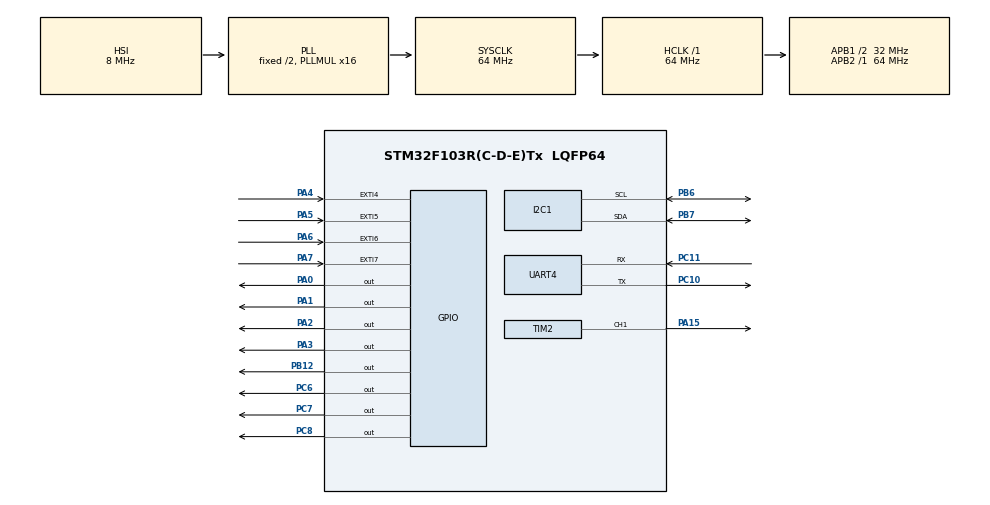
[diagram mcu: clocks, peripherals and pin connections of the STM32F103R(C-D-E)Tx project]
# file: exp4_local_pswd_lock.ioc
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Mcu.Family=STM32F1
Mcu.Name=STM32F103R(C-D-E)Tx
Mcu.Package=LQFP64
NVIC.EXTI4_IRQn=true\:0\:0\:false\:false\:true\:true
NVIC.EXTI9_5_IRQn=true\:0\:0\:false\:false\:true\:true
NVIC.PriorityGroup=NVIC_PRIORITYGROUP_4
NVIC.UART4_IRQn=true\:0\:0\:false\:false\:true\:true
PA0-WKUP.Signal=GPIO_Output
PA1.Signal=GPIO_Output
PA13.Mode=Serial_Wire
PA13.Signal=SYS_JTMS-SWDIO
PA14.Mode=Serial_Wire
PA14.Signal=SYS_JTCK-SWCLK
PA15.Signal=S_TIM2_CH1_ETR
PA2.Signal=GPIO_Output
PA3.Signal=GPIO_Output
PA4.Signal=GPXTI4
PA5.Signal=GPXTI5
PA6.Signal=GPXTI6
PA7.Signal=GPXTI7
PB12.Signal=GPIO_Output
PB6.Mode=I2C
PB6.Signal=I2C1_SCL
PB7.Mode=I2C
PB7.Signal=I2C1_SDA
PC10.Mode=Asynchronous
PC10.Signal=UART4_TX
PC11.Mode=Asynchronous
PC11.Signal=UART4_RX
PC6.Signal=GPIO_Output
PC7.Signal=GPIO_Output
PC8.Signal=GPIO_Output
ProjectManager.HeapSize=0x200
ProjectManager.StackSize=0x400
ProjectManager.TargetToolchain=MDK-ARM V5
RCC.AHBFreq_Value=64000000
RCC.APB1CLKDivider=RCC_HCLK_DIV2
RCC.APB1Freq_Value=32000000
RCC.APB1TimFreq_Value=64000000
RCC.APB2Freq_Value=64000000
RCC.APB2TimFreq_Value=64000000
RCC.HCLKFreq_Value=64000000
RCC.PLLMUL=RCC_PLL_MUL16
RCC.SYSCLKFreq_VALUE=64000000
RCC.SYSCLKSource=RCC_SYSCLKSOURCE_PLLCLK
RCC.USBFreq_Value=64000000
SH.S_TIM2_CH1_ETR.0=TIM2_CH1,PWM Generation1 CH1
TIM2.Channel-PWM\ Generation1\ CH1=TIM_CHANNEL_1
TIM2.Prescaler=6400
UART4.VirtualMode=Asynchronous
VP_TIM2_VS_ClockSourceINT.Mode=Internal
board=custom

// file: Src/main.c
/**
  ******************************************************************************
  * @file           : main.c
  * @brief          : Main program body
  ******************************************************************************
  ** This notice applies to any and all portions of this file
  * that are not between comment pairs USER CODE BEGIN and
  * USER CODE END. Other portions of this file, whether
  * inserted by the user or by software development tools
  * are owned by their respective copyright owners.
  *
  * COPYRIGHT(c) 2019 STMicroelectronics
  *
  * Redistribution and use in source and binary forms, with or without modification,
  * are permitted provided that the following conditions are met:
  *   1. Redistributions of source code must retain the above copyright notice,
  *      this list of conditions and the following disclaimer.
  *   2. Redistributions in binary form must reproduce the above copyright notice,
  *      this list of conditions and the following disclaimer in the documentation
  *      and/or other materials provided with the distribution.
  *   3. Neither the name of STMicroelectronics nor the names of its contributors
  *      may be used to endorse or promote products derived from this software
  *      without specific prior written permission.
  *
  * THIS SOFTWARE IS PROVIDED BY THE COPYRIGHT HOLDERS AND CONTRIBUTORS "AS IS"
  * AND ANY EXPRESS OR IMPLIED WARRANTIES, INCLUDING, BUT NOT LIMITED TO, THE
  * IMPLIED WARRANTIES OF MERCHANTABILITY AND FITNESS FOR A PARTICULAR PURPOSE ARE
  * DISCLAIMED. IN NO EVENT SHALL THE COPYRIGHT HOLDER OR CONTRIBUTORS BE LIABLE
  * FOR ANY DIRECT, INDIRECT, INCIDENTAL, SPECIAL, EXEMPLARY, OR CONSEQUENTIAL
  * DAMAGES (INCLUDING, BUT NOT LIMITED TO, PROCUREMENT OF SUBSTITUTE GOODS OR
  * SERVICES; LOSS OF USE, DATA, OR PROFITS; OR BUSINESS INTERRUPTION) HOWEVER
  * CAUSED AND ON ANY THEORY OF LIABILITY, WHETHER IN CONTRACT, STRICT LIABILITY,
  * OR TORT (INCLUDING NEGLIGENCE OR OTHERWISE) ARISING IN ANY WAY OUT OF THE USE
  * OF THIS SOFTWARE, EVEN IF ADVISED OF THE POSSIBILITY OF SUCH DAMAGE.
  *
  ******************************************************************************
  */
#include "main.h"
#include "stm32f1xx_hal.h"

/* USER CODE BEGIN Includes */
#include "keyboard.h"
#include "OLED.h"
#include "string.h"
/* USER CODE END Includes */

I2C_HandleTypeDef hi2c1;

TIM_HandleTypeDef htim2;

UART_HandleTypeDef huart4;

/* USER CODE BEGIN PV */
/* Private variables ---------------------------------------------------------*/

/* USER CODE END PV */

void SystemClock_Config(void);
static void MX_GPIO_Init(void);
static void MX_I2C1_Init(void);
static void MX_TIM2_Init(void);
static void MX_UART4_Init(void);

void HAL_TIM_MspPostInit(TIM_HandleTypeDef *htim);

/* USER CODE BEGIN PFP */
/* Private function prototypes -----------------------------------------------*/

void key_interrupt_fun(uint16_t);
int main_menu_flash(void);
int password_flash(void);
int tips_flash(void);
int locked_flash(void);
int time(void);
int str2int();
void beep(int);
void unlock(void);
void locked(void);
void resetpass(void);
void timechanging(void);

#define MAIN_MENU 0
#define PASS_MENU 1
#define TIPS_MENU 2
#define LOCKED_MENU 3

/* USER CODE END PFP */

/* USER CODE BEGIN 0 */
int menu_flag=MAIN_MENU;
int year=19,month=7,day=14;
int hour=10,min=26,sec=0;
int yeartemp=0,monthtemp=0,daytemp=0;
int hourtemp=0,mintemp=0,sectemp=0;
char tipsbuf[16];
char starbuf[16];
char pswdbuf[16];
char pswdprintbuf[16];
char configbuf[16];
char timeconfig[16];
char timetempbuf[6];
char rxbuf[100];
char rxprintbuf[100];
char orginpswd[16]="123456";
char orginpswdbuf[16];
char uart_rxbuf[1];
char judgebuf[16];
char *ptchar;
int pos=0;

/*void HAL_TIM_PeriodElapsedCallback(TIM_HandleTypeDef *htim)
{
	sec++;
	if(sec==60){
		sec=0;min++;
		if(min==60){
			//......
		}
	}
}**/

void HAL_UART_RxCpltCallback (UART_HandleTypeDef *huart)
{
	rxbuf[pos]=uart_rxbuf[0];
	pos++;
	if(uart_rxbuf[0]==';'){
		HAL_UART_Transmit(&huart4,rxbuf,strlen(rxbuf),100);
		pos=0;
		strcpy(rxprintbuf,rxbuf);
		if(strncmp("config:unlock",rxbuf,13)==0){
			unlock();
		}else if(strncmp("config:resetpass",rxbuf,16)==0){
			resetpass();
		}else if(strncmp("config:locked",rxbuf,13)==0){
			locked();
		}else if(strncmp("config:timechanging",rxbuf,19)==0){
			timechanging();
		}
		memset(rxbuf,0,sizeof(rxbuf));
	}
	HAL_UART_Receive_IT(&huart4,uart_rxbuf,1);
}

void HAL_GPIO_EXTI_Callback (uint16_t GPIO_PIN)
{
	/*按键消抖*/
	static int pre_ticks=0;
	int ticks;
	ticks=HAL_GetTick();
	if(ticks-pre_ticks<300){
		return;
	}
	pre_ticks=ticks;
	/*读取按键中断*/
	char keynum;
	keynum=Get_KeyNum(GPIO_PIN);
	if(keynum>='0'&&keynum<='9'){
		OLED_CLS();
		menu_flag=PASS_MENU;
		starbuf[pos]='*';
		pswdbuf[pos]=keynum;
		pos++;
		//beep(40);
	}

	if(keynum=='C'){
		OLED_CLS();
		menu_flag=PASS_MENU;
		for(int i=0;i<=pos;i++){

			starbuf[i]=NULL;
			pswdbuf[i]=NULL;
		}
		pos=0;
	}

	if(keynum=='D'){
		OLED_CLS();
		menu_flag=PASS_MENU;
		pos--;
		starbuf[pos]=NULL;
		pswdbuf[pos]=NULL;
	}

	if(keynum=='E'){
		OLED_CLS();
		int ret;
		ret=strncmp(orginpswd,pswdbuf,6);
		if(ret==0){
			HAL_GPIO_WritePin(GPIOB,GPIO_PIN_12,GPIO_PIN_RESET);
			HAL_GPIO_WritePin(GPIOC,GPIO_PIN_7,GPIO_PIN_RESET);
			//HAL_Delay(1000);
			//HAL_GPIO_WritePin(GPIOB,GPIO_PIN_12,GPIO_PIN_RESET);
			//HAL_GPIO_WritePin(GPIOC,GPIO_PIN_7,GPIO_PIN_SET);
			menu_flag=TIPS_MENU;
			strcpy(tipsbuf,"unlock success");
			memset(starbuf,0,sizeof(starbuf));
			memset(pswdbuf,0,sizeof(pswdbuf));
			pos=0;
		}else{
			HAL_GPIO_WritePin(GPIOB,GPIO_PIN_12,GPIO_PIN_SET);
			HAL_GPIO_WritePin(GPIOC,GPIO_PIN_6,GPIO_PIN_RESET);
			//HAL_Delay(1000);
			//HAL_GPIO_WritePin(GPIOC,GPIO_PIN_8,GPIO_PIN_SET);
			menu_flag=TIPS_MENU;
			strcpy(tipsbuf,"unlock fail");
			memset(starbuf,0,sizeof(starbuf));
			memset(pswdbuf,0,sizeof(pswdbuf));
			pos=0;
		}
	}

	if(keynum=='Q'){
		OLED_CLS();
		menu_flag=MAIN_MENU;
		memset(starbuf,0,sizeof(starbuf));
		memset(pswdbuf,0,sizeof(pswdbuf));
		pos=0;
	}
}

void unlock(void)
{
	//config:unlock,keypass="password"
	ptchar=strstr(rxprintbuf,"keypass=");
	int i=0;
	ptchar=ptchar+strlen("keypass=");
	memset(pswdbuf,0,sizeof(pswdbuf));
	while(*ptchar!=','&& *ptchar!=';'){
		pswdbuf[i]=*ptchar;
		ptchar++;i++;
	}

	strcpy(pswdprintbuf,pswdbuf);
	int ret;
	ret=strncmp(orginpswd,pswdbuf,6);
	if(ret==0){
		HAL_GPIO_WritePin(GPIOB,GPIO_PIN_12,GPIO_PIN_RESET);
		HAL_GPIO_WritePin(GPIOC,GPIO_PIN_7,GPIO_PIN_RESET);
		//HAL_Delay(1000);
		//HAL_GPIO_WritePin(GPIOB,GPIO_PIN_12,GPIO_PIN_RESET);
		//HAL_GPIO_WritePin(GPIOC,GPIO_PIN_7,GPIO_PIN_SET);
		menu_flag=TIPS_MENU;
		strcpy(tipsbuf,"unlock success");
		memset(pswdbuf,0,sizeof(pswdbuf));
		pos=0;
	}else{
		HAL_GPIO_WritePin(GPIOB,GPIO_PIN_12,GPIO_PIN_SET);
		HAL_GPIO_WritePin(GPIOC,GPIO_PIN_6,GPIO_PIN_RESET);
		//HAL_Delay(1000);
		//HAL_GPIO_WritePin(GPIOC,GPIO_PIN_8,GPIO_PIN_SET);
		menu_flag=TIPS_MENU;
		strcpy(tipsbuf,"unlock fail");
		memset(pswdbuf,0,sizeof(pswdbuf));
		pos=0;
	}
}

void resetpass(void)
{
	//config:resetpass=14564,keypass=123456
	int i=0;
	int ret;
	ptchar=strstr(rxprintbuf,"keypass=");
	ptchar=ptchar+strlen("keypass=");
	while(*ptchar !=','&&*ptchar !=';'){
		pswdbuf[i]=*ptchar;
		ptchar++; i++;
	}

	ret=strncmp(orginpswd,pswdbuf,6);
	if(ret==0){
		i=0;
		ptchar=strstr(rxprintbuf,"resetpass=");
		ptchar=ptchar+strlen("resetpass=");
		while(*ptchar !=','&&*ptchar !=';'){

			orginpswdbuf[i]=*ptchar;
			ptchar++;i++;
		}
		/*for(int k=0;k<=strlen(orginpswd);k++){
			orginpswd[k]=orginpswdbuf[k];
		}*/
		strcpy(orginpswd,orginpswdbuf);
		strcpy(tipsbuf," reset success ");
		menu_flag=TIPS_MENU;
		HAL_GPIO_WritePin(GPIOC,GPIO_PIN_7,GPIO_PIN_RESET);
		memset(orginpswdbuf,0,sizeof(orginpswdbuf));
	}else{
		strcpy(tipsbuf," wrong oldpass ");
		menu_flag=TIPS_MENU;
		HAL_GPIO_WritePin(GPIOC,GPIO_PIN_6,GPIO_PIN_RESET);
	}
}

void locked(void)
{
	ptchar=strstr(rxprintbuf,"locked");
	int i=0;
	//memset(pswdbuf,0,sizeof(pswdbuf));
	while(*ptchar!=';'){
		configbuf[i]=*ptchar;
		ptchar++;
		i++;
	}
	if(strcmp(configbuf,"locked")==0){
		HAL_GPIO_WritePin(GPIOB,GPIO_PIN_12,GPIO_PIN_SET);
		HAL_GPIO_WritePin(GPIOC,GPIO_PIN_6,GPIO_PIN_RESET);
		menu_flag=LOCKED_MENU;
	}
}

void timechanging(void)
{
	int i=0;
	ptchar=strstr(rxprintbuf,"set:");
	ptchar=ptchar+strlen("set:");
	while(*ptchar!=','&& *ptchar!=';'){
		timeconfig[i]=*ptchar;
		ptchar++;
		i++;
	}
	if(strncmp(timeconfig,"sec",3)==0){
		i=0;
		ptchar=strstr(rxprintbuf,"set:");
		ptchar=ptchar+strlen("set:sec=");
		while(*ptchar!=','&&*ptchar!=';')
		{
			timetempbuf[i]=*ptchar;
			ptchar++;
			i++;
		}
		sectemp=str2int(timetempbuf);
		if(sectemp>=60){
			strcpy(tipsbuf,"setsec fail");
			menu_flag=TIPS_MENU;
		}else{
			sec=sectemp;
			strcpy(tipsbuf,"setsec success");
			menu_flag=TIPS_MENU;
		}

		memset(timetempbuf,0,sizeof(timetempbuf));

	}else if(strncmp(timeconfig,"min",3)==0){
		i=0;
		ptchar=strstr(rxprintbuf,"set:");
		ptchar=ptchar+strlen("set:min=");
		while(*ptchar!=','&&*ptchar!=';')
		{
			timetempbuf[i]=*ptchar;
			ptchar++;
			i++;
		}
		mintemp=str2int(timetempbuf);
		if(mintemp>=60){
			strcpy(tipsbuf,"setmin fail");
			menu_flag=TIPS_MENU;
		}else{
			min=mintemp;
			strcpy(tipsbuf,"setmin success");
		menu_flag=TIPS_MENU;
		}

		memset(timetempbuf,0,sizeof(timetempbuf));
	}else if(strncmp(timeconfig,"hour",4)==0){
		i=0;
		ptchar=strstr(rxprintbuf,"set:");
		ptchar=ptchar+strlen("set:hour=");
		while(*ptchar!=','&&*ptchar!=';')
		{
			timetempbuf[i]=*ptchar;
			ptchar++;
			i++;
		}
		hourtemp=str2int(timetempbuf);
		if(hourtemp>=24){
			strcpy(tipsbuf,"sethour fail");
			menu_flag=TIPS_MENU;
		}else{
			hour=hourtemp;
			strcpy(tipsbuf,"sethour success");
			menu_flag=TIPS_MENU;
		}

		memset(timetempbuf,0,sizeof(timetempbuf));
	}else if(strncmp(timeconfig,"day",3)==0){
		i=0;
		ptchar=strstr(rxprintbuf,"set:");
		ptchar=ptchar+strlen("set:day=");
		while(*ptchar!=','&&*ptchar!=';')
		{
			timetempbuf[i]=*ptchar;
			ptchar++;
			i++;
		}
		daytemp=str2int(timetempbuf);
		if(daytemp>31){
			strcpy(tipsbuf,"setday fail");
			menu_flag=TIPS_MENU;
		}else{
			day=daytemp;
			strcpy(tipsbuf,"setday success");
			menu_flag=TIPS_MENU;
		}
		memset(timetempbuf,0,sizeof(timetempbuf));
	}
}

int str2int(char *str)
{
	int result=0;
	for(int i=0;str[i]!='\0';i++)
	{
		result=result*10+str[i]-'0';
	}
	return result;
}

void beep(int period)
{
	int cmp=period/2;
	HAL_TIM_PWM_Start(&htim2,TIM_CHANNEL_1);
	cmp=period/2;
	__HAL_TIM_SET_COMPARE(&htim2,TIM_CHANNEL_1,cmp);
	__HAL_TIM_SET_AUTORELOAD(&htim2,period);
	period+=10;
	HAL_Delay(200);
}

int time(void)
{
	HAL_Delay(1000);
	sec++;
	if(sec==60){
		sec=0;min++;
		if(min==60){
			//......
		}
	}
}

int main_menu_flash(void)
{
	/*HAL_Delay(1000);
	sec++;
	if(sec==60){
		sec=0;min++;
		if(min==60){
			//......
		}
	}*/
	char datebuf[16];
	char timebuf[16];
	sprintf(datebuf,"    %02d-%02d-%02d   ",year,month,day);
	sprintf(timebuf,"    %02d:%02d:%02d   ",hour,min,sec);
	OLED_ShowStr(0,0,datebuf,CODE8X16);
	OLED_ShowStr(0,16,timebuf,CODE8X16);
	OLED_ShowStr(0,32," SMARTLOCKMARKI ",CODE8X16);
	OLED_ShowStr(0,64,"WIFI            ",CODE8X16);
  fflash();
}

int password_flash(void)
{
	//OLED_CLS();
	OLED_ShowStr(0,16,"  Enter passwd  ",CODE8X16);
	OLED_ShowStr(0,32,starbuf,CODE8X16);
	fflash();
}

int locked_flash(void)
{
	OLED_CLS();
	OLED_ShowStr(0,16,"LOCKED",CODE8X16);
	HAL_GPIO_WritePin(GPIOC,GPIO_PIN_6,GPIO_PIN_SET);
	fflash();
}

int tips_flash(void)
{
	OLED_CLS();
	//OLED_ShowStr(0,0,rxprintbuf,CODE8X16);
	OLED_ShowStr(0,16,tipsbuf,CODE8X16);
	//OLED_ShowStr(0,32,pswdprintbuf,CODE8X16);
	fflash();
	if(strncmp("unlock success",tipsbuf,14)==0){
		//HAL_Delay(1000*2);
		HAL_GPIO_WritePin(GPIOB,GPIO_PIN_12,GPIO_PIN_SET);
		HAL_GPIO_WritePin(GPIOC,GPIO_PIN_7,GPIO_PIN_SET);
	}else if(strncmp("unlock fail",tipsbuf,11)==0){
		//HAL_Delay(1000);
		HAL_GPIO_WritePin(GPIOC,GPIO_PIN_6,GPIO_PIN_SET);
	}else if(strncmp(" reset success ",tipsbuf,15)==0){
		HAL_GPIO_WritePin(GPIOC,GPIO_PIN_7,GPIO_PIN_SET);
	}else if(strncmp(" wrong oldpass ",tipsbuf,15)==0){
		HAL_GPIO_WritePin(GPIOC,GPIO_PIN_6,GPIO_PIN_SET);
	}
}
/* USER CODE END 0 */

int main(void)
{

  /* MCU Configuration----------------------------------------------------------*/

  /* Reset of all peripherals, Initializes the Flash interface and the Systick. */
  HAL_Init();

  /* Configure the system clock */
  SystemClock_Config();

  /* Initialize all configured peripherals */
  MX_GPIO_Init();
  MX_I2C1_Init();
  MX_TIM2_Init();
  MX_UART4_Init();
  /* USER CODE BEGIN 2 */
	Key_Bord_Init();
	OLED_Init();
	HAL_GPIO_WritePin(GPIOB,GPIO_PIN_12,GPIO_PIN_SET);
	HAL_GPIO_WritePin(GPIOC,GPIO_PIN_6,GPIO_PIN_SET);
	HAL_GPIO_WritePin(GPIOC,GPIO_PIN_7,GPIO_PIN_SET);
	HAL_GPIO_WritePin(GPIOC,GPIO_PIN_8,GPIO_PIN_SET);
	HAL_UART_Receive_IT(&huart4,uart_rxbuf,1);
	/*
	HAL_TIM_Base_Start_IT(&htim1);
	HAL_Delay(1000);
	HAL_TIM_Base_Stop_IT(&htim1);*/
  /* USER CODE END 2 */

  /* Infinite loop */
  /* USER CODE BEGIN WHILE */
  while (1)
  {

		switch(menu_flag){

			case MAIN_MENU:
				main_menu_flash();
				time();
			break;
			case PASS_MENU:
				password_flash();
				time();
			break;
			case TIPS_MENU:
				tips_flash();
				time();
				HAL_Delay(1000);
				menu_flag=MAIN_MENU;
			break;
			case LOCKED_MENU:
				locked_flash();
				time();
				HAL_Delay(1000);
				menu_flag=MAIN_MENU;
			break;
		}
  /* USER CODE END WHILE */

  }

}

void SystemClock_Config(void)
{

  RCC_OscInitTypeDef RCC_OscInitStruct;
  RCC_ClkInitTypeDef RCC_ClkInitStruct;

    /**Initializes the CPU, AHB and APB busses clocks
    */
  RCC_OscInitStruct.OscillatorType = RCC_OSCILLATORTYPE_HSI;
  RCC_OscInitStruct.HSIState = RCC_HSI_ON;
  RCC_OscInitStruct.HSICalibrationValue = 16;
  RCC_OscInitStruct.PLL.PLLState = RCC_PLL_ON;
  RCC_OscInitStruct.PLL.PLLSource = RCC_PLLSOURCE_HSI_DIV2;
  RCC_OscInitStruct.PLL.PLLMUL = RCC_PLL_MUL16;
  if (HAL_RCC_OscConfig(&RCC_OscInitStruct) != HAL_OK)
  {
    _Error_Handler(__FILE__, __LINE__);
  }

    /**Initializes the CPU, AHB and APB busses clocks
    */
  RCC_ClkInitStruct.ClockType = RCC_CLOCKTYPE_HCLK|RCC_CLOCKTYPE_SYSCLK
                              |RCC_CLOCKTYPE_PCLK1|RCC_CLOCKTYPE_PCLK2;
  RCC_ClkInitStruct.SYSCLKSource = RCC_SYSCLKSOURCE_PLLCLK;
  RCC_ClkInitStruct.AHBCLKDivider = RCC_SYSCLK_DIV1;
  RCC_ClkInitStruct.APB1CLKDivider = RCC_HCLK_DIV2;
  RCC_ClkInitStruct.APB2CLKDivider = RCC_HCLK_DIV1;

  if (HAL_RCC_ClockConfig(&RCC_ClkInitStruct, FLASH_LATENCY_2) != HAL_OK)
  {
    _Error_Handler(__FILE__, __LINE__);
  }

    /**Configure the Systick interrupt time
    */
  HAL_SYSTICK_Config(HAL_RCC_GetHCLKFreq()/1000);

    /**Configure the Systick
    */
  HAL_SYSTICK_CLKSourceConfig(SYSTICK_CLKSOURCE_HCLK);

  /* SysTick_IRQn interrupt configuration */
  HAL_NVIC_SetPriority(SysTick_IRQn, 0, 0);
}

/* I2C1 init function */
static void MX_I2C1_Init(void)
{

  hi2c1.Instance = I2C1;
  hi2c1.Init.ClockSpeed = 100000;
  hi2c1.Init.DutyCycle = I2C_DUTYCYCLE_2;
  hi2c1.Init.OwnAddress1 = 0;
  hi2c1.Init.AddressingMode = I2C_ADDRESSINGMODE_7BIT;
  hi2c1.Init.DualAddressMode = I2C_DUALADDRESS_DISABLE;
  hi2c1.Init.OwnAddress2 = 0;
  hi2c1.Init.GeneralCallMode = I2C_GENERALCALL_DISABLE;
  hi2c1.Init.NoStretchMode = I2C_NOSTRETCH_DISABLE;
  if (HAL_I2C_Init(&hi2c1) != HAL_OK)
  {
    _Error_Handler(__FILE__, __LINE__);
  }

}

/* TIM2 init function */
static void MX_TIM2_Init(void)
{

  TIM_ClockConfigTypeDef sClockSourceConfig;
  TIM_MasterConfigTypeDef sMasterConfig;
  TIM_OC_InitTypeDef sConfigOC;

  htim2.Instance = TIM2;
  htim2.Init.Prescaler = 6400;
  htim2.Init.CounterMode = TIM_COUNTERMODE_UP;
  htim2.Init.Period = 0;
  htim2.Init.ClockDivision = TIM_CLOCKDIVISION_DIV1;
  htim2.Init.AutoReloadPreload = TIM_AUTORELOAD_PRELOAD_DISABLE;
  if (HAL_TIM_Base_Init(&htim2) != HAL_OK)
  {
    _Error_Handler(__FILE__, __LINE__);
  }

  sClockSourceConfig.ClockSource = TIM_CLOCKSOURCE_INTERNAL;
  if (HAL_TIM_ConfigClockSource(&htim2, &sClockSourceConfig) != HAL_OK)
  {
    _Error_Handler(__FILE__, __LINE__);
  }

  if (HAL_TIM_PWM_Init(&htim2) != HAL_OK)
  {
    _Error_Handler(__FILE__, __LINE__);
  }

  sMasterConfig.MasterOutputTrigger = TIM_TRGO_RESET;
  sMasterConfig.MasterSlaveMode = TIM_MASTERSLAVEMODE_DISABLE;
  if (HAL_TIMEx_MasterConfigSynchronization(&htim2, &sMasterConfig) != HAL_OK)
  {
    _Error_Handler(__FILE__, __LINE__);
  }

  sConfigOC.OCMode = TIM_OCMODE_PWM1;
  sConfigOC.Pulse = 0;
  sConfigOC.OCPolarity = TIM_OCPOLARITY_HIGH;
  sConfigOC.OCFastMode = TIM_OCFAST_DISABLE;
  if (HAL_TIM_PWM_ConfigChannel(&htim2, &sConfigOC, TIM_CHANNEL_1) != HAL_OK)
  {
    _Error_Handler(__FILE__, __LINE__);
  }

  HAL_TIM_MspPostInit(&htim2);

}

/* UART4 init function */
static void MX_UART4_Init(void)
{

  huart4.Instance = UART4;
  huart4.Init.BaudRate = 115200;
  huart4.Init.WordLength = UART_WORDLENGTH_8B;
  huart4.Init.StopBits = UART_STOPBITS_1;
  huart4.Init.Parity = UART_PARITY_NONE;
  huart4.Init.Mode = UART_MODE_TX_RX;
  huart4.Init.HwFlowCtl = UART_HWCONTROL_NONE;
  huart4.Init.OverSampling = UART_OVERSAMPLING_16;
  if (HAL_UART_Init(&huart4) != HAL_OK)
  {
    _Error_Handler(__FILE__, __LINE__);
  }

}

/** Configure pins as
        * Analog
        * Input
        * Output
        * EVENT_OUT
        * EXTI
*/
static void MX_GPIO_Init(void)
{

  GPIO_InitTypeDef GPIO_InitStruct;

  /* GPIO Ports Clock Enable */
  __HAL_RCC_GPIOA_CLK_ENABLE();
  __HAL_RCC_GPIOB_CLK_ENABLE();
  __HAL_RCC_GPIOC_CLK_ENABLE();

  /*Configure GPIO pin Output Level */
  HAL_GPIO_WritePin(GPIOA, GPIO_PIN_0|GPIO_PIN_1|GPIO_PIN_2|GPIO_PIN_3, GPIO_PIN_RESET);

  /*Configure GPIO pin Output Level */
  HAL_GPIO_WritePin(GPIOB, GPIO_PIN_12, GPIO_PIN_RESET);

  /*Configure GPIO pin Output Level */
  HAL_GPIO_WritePin(GPIOC, GPIO_PIN_6|GPIO_PIN_7|GPIO_PIN_8, GPIO_PIN_RESET);

  /*Configure GPIO pins : PA0 PA1 PA2 PA3 */
  GPIO_InitStruct.Pin = GPIO_PIN_0|GPIO_PIN_1|GPIO_PIN_2|GPIO_PIN_3;
  GPIO_InitStruct.Mode = GPIO_MODE_OUTPUT_PP;
  GPIO_InitStruct.Pull = GPIO_NOPULL;
  GPIO_InitStruct.Speed = GPIO_SPEED_FREQ_LOW;
  HAL_GPIO_Init(GPIOA, &GPIO_InitStruct);

  /*Configure GPIO pins : PA4 PA5 PA6 PA7 */
  GPIO_InitStruct.Pin = GPIO_PIN_4|GPIO_PIN_5|GPIO_PIN_6|GPIO_PIN_7;
  GPIO_InitStruct.Mode = GPIO_MODE_IT_RISING;
  GPIO_InitStruct.Pull = GPIO_NOPULL;
  HAL_GPIO_Init(GPIOA, &GPIO_InitStruct);

  /*Configure GPIO pin : PB12 */
  GPIO_InitStruct.Pin = GPIO_PIN_12;
  GPIO_InitStruct.Mode = GPIO_MODE_OUTPUT_PP;
  GPIO_InitStruct.Pull = GPIO_NOPULL;
  GPIO_InitStruct.Speed = GPIO_SPEED_FREQ_LOW;
  HAL_GPIO_Init(GPIOB, &GPIO_InitStruct);

  /*Configure GPIO pins : PC6 PC7 PC8 */
  GPIO_InitStruct.Pin = GPIO_PIN_6|GPIO_PIN_7|GPIO_PIN_8;
  GPIO_InitStruct.Mode = GPIO_MODE_OUTPUT_PP;
  GPIO_InitStruct.Pull = GPIO_NOPULL;
  GPIO_InitStruct.Speed = GPIO_SPEED_FREQ_LOW;
  HAL_GPIO_Init(GPIOC, &GPIO_InitStruct);

  /* EXTI interrupt init*/
  HAL_NVIC_SetPriority(EXTI4_IRQn, 0, 0);
  HAL_NVIC_EnableIRQ(EXTI4_IRQn);

  HAL_NVIC_SetPriority(EXTI9_5_IRQn, 0, 0);
  HAL_NVIC_EnableIRQ(EXTI9_5_IRQn);

}

void _Error_Handler(char *file, int line)
{
  while(1)
  {
  }
}

/************************ (C) COPYRIGHT STMicroelectronics *****END OF FILE****/
